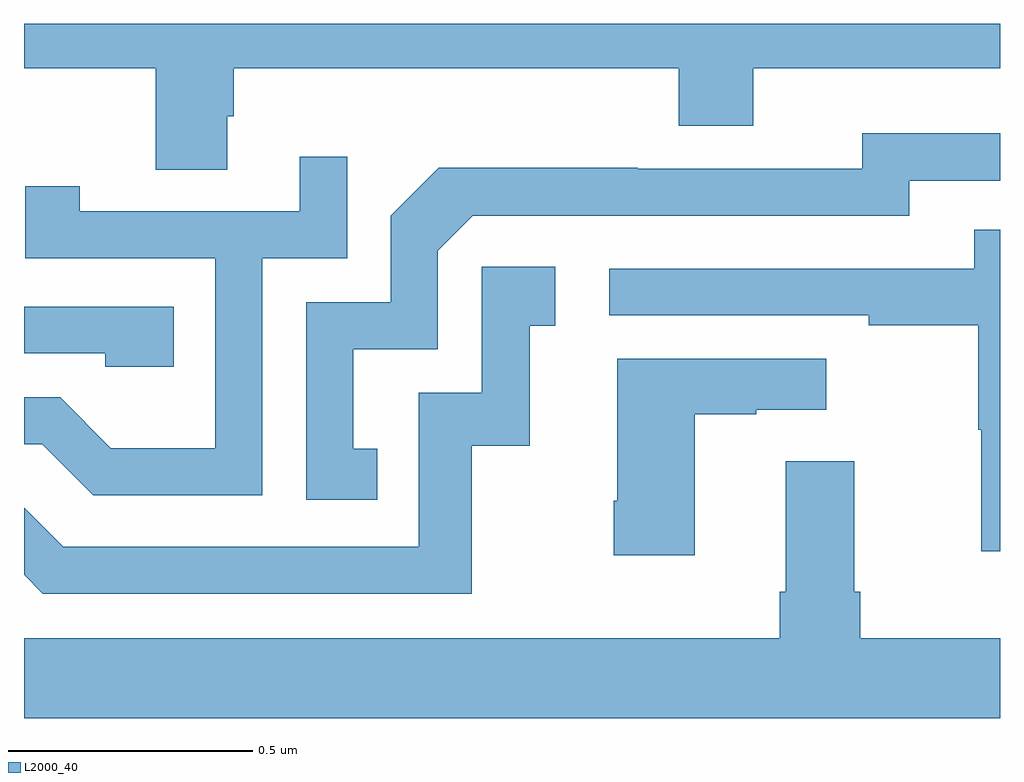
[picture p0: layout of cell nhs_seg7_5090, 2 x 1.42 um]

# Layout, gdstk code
import gdstk
lib = gdstk.Library(unit=1e-6, precision=1e-09)
def P(c, l, *ps):  # polygons
    for p in ps: c.add(gdstk.Polygon(p, *l))
L2000_40 = (2000, 40)

nhs_seg7_5090 = lib.new_cell('nhs_seg7_5090')
P(nhs_seg7_5090, L2000_40, [(181.417,1041.81),(181.43,1041.81),(181.43,1041.908),(182.342,1041.908),(182.342,1041.791),(182.494,1041.791),(182.494,1041.908),(183,1041.908),(183,1042),(181,1042),(181,1041.908),(181.27,1041.908),(181.27,1041.7),(181.417,1041.7)],
  [(181.724,1041.129),(181.675,1041.129),(181.675,1041.333),(181.848,1041.333),(181.848,1041.534),(181.92,1041.606),(182.814,1041.606),(182.814,1041.678),(183,1041.678),(183,1041.775),(182.718,1041.775),(182.718,1041.702),(182.258,1041.702),(182.258,1041.704),(181.85,1041.704),(181.752,1041.606),(181.752,1041.429),(181.578,1041.429),(181.578,1041.024),(181.724,1041.024)],
  [(181.488,1041.519),(181.662,1041.519),(181.662,1041.727),(181.565,1041.727),(181.565,1041.615),(181.114,1041.615),(181.114,1041.667),(181.003,1041.667),(181.003,1041.519),(181.392,1041.519),(181.392,1041.13),(181.178,1041.13),(181.074,1041.234),(181,1041.234),(181,1041.138),(181.037,1041.138),(181.142,1041.033),(181.488,1041.033)],
  [(183,1041.577),(182.947,1041.577),(182.947,1041.498),(182.199,1041.498),(182.199,1041.402),(182.731,1041.402),(182.731,1041.382),(182.955,1041.382),(182.955,1041.168),(182.962,1041.168),(182.962,1040.919),(183,1040.919)],
  [(181.918,1041.135),(182.036,1041.135),(182.036,1041.381),(182.089,1041.381),(182.089,1041.502),(181.938,1041.502),(181.938,1041.243),(181.809,1041.243),(181.809,1040.928),(181.08,1040.928),(181,1041.008),(181,1040.87),(181.038,1040.832),(181.918,1040.832)],
  [(181.307,1041.42),(181,1041.42),(181,1041.324),(181.167,1041.324),(181.167,1041.297),(181.307,1041.297)],
  [(182.374,1041.199),(182.501,1041.199),(182.501,1041.209),(182.644,1041.209),(182.644,1041.313),(182.216,1041.313),(182.216,1041.022),(182.209,1041.022),(182.209,1040.91),(182.374,1040.91)],
  [(183,1040.74),(182.714,1040.74),(182.714,1040.836),(182.701,1040.836),(182.701,1041.103),(182.561,1041.103),(182.561,1040.836),(182.549,1040.836),(182.549,1040.74),(181,1040.74),(181,1040.576),(183,1040.576)])

lib.write_gds('nhs_seg7_5090.gds')
